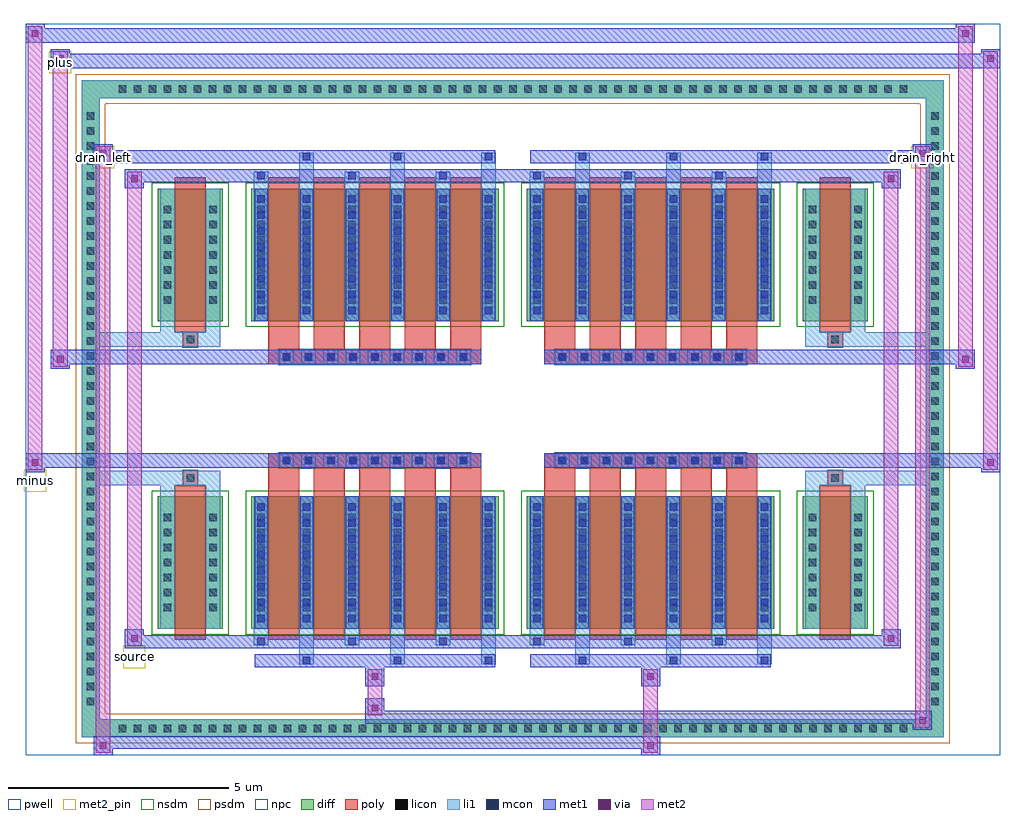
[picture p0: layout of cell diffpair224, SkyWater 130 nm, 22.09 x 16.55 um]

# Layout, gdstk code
import gdstk
lib = gdstk.Library(unit=1e-6, precision=5e-09)
def R(c, l, rs):  # rectangles x0, y0, x1, y1
    for r in rs: c.add(gdstk.rectangle(r[:2], r[2:], *l))
def A(c, l, x, y, w, h, nx, ny, dx, dy):  # array of equal rectangles
    R(c, l, [(x+i*dx, y+j*dy, x+i*dx+w, y+j*dy+h) for i in range(nx) for j in range(ny)])
def P(c, l, *ps):  # polygons
    for p in ps: c.add(gdstk.Polygon(p, *l))
pwell = (64, 44)
diff = (65, 20)
poly = (66, 20)
licon = (66, 44)
li1 = (67, 20)
mcon = (67, 44)
met1 = (68, 20)
via = (68, 44)
met2_pin = (69, 16)
met2 = (69, 20)
nsdm = (93, 44)
psdm = (94, 20)
npc = (95, 20)

diffpair224 = lib.new_cell('diffpair224')
R(diffpair224, pwell, [(-11.03,-7.84,11.03,8.71), (-8.35,-6.03,-0.01,-0.805), (0.01,-6.03,8.35,-0.805), (-8.35,0.805,-0.01,6.03), (0.01,0.805,8.35,6.03)])
A(diffpair224, diff, -9.045, -7.44, 0.41, 0.41, 53, 2, 0.34, 14.47)
A(diffpair224, diff, -9.76, -6.835, 0.41, 0.41, 1, 40, 0, 0.34)
A(diffpair224, diff, 9.35, -6.835, 0.41, 0.41, 1, 40, 0, 0.34)
R(diffpair224, diff, [(-9.045,-7.44,9.045,-7.03), (-9.76,-6.835,-9.35,6.835), (9.35,-6.835,9.76,6.835), (-8.04,-4.985,-6.56,-1.985), (-5.92,-4.985,-0.32,-1.985), (0.32,-4.985,5.92,-1.985), (6.56,-4.985,8.04,-1.985), (-8.04,1.985,-6.56,4.985), (-5.92,1.985,-0.32,4.985), (0.32,1.985,5.92,4.985), (6.56,1.985,8.04,4.985), (-9.045,7.03,9.045,7.44)])
P(diffpair224, diff, [(9.76,7.44),(-9.76,7.44),(-9.76,-7.03),(-9.35,-7.03),(-9.35,7.03),(9.35,7.03),(9.35,-7.03),(-9.35,-7.03),(-9.76,-7.03),(-9.76,-7.44),(9.76,-7.44)])
A(diffpair224, poly, -5.53, -5.235, 0.7, 3.5, 5, 2, 1.03, 6.97)
A(diffpair224, poly, 0.71, -5.235, 0.7, 3.5, 5, 2, 1.03, 6.97)
A(diffpair224, poly, -5.53, -1.735, 0.7, 0.4, 5, 2, 1.03, 3.07)
A(diffpair224, poly, 0.71, -1.735, 0.7, 0.4, 5, 2, 1.03, 3.07)
A(diffpair224, poly, -5.285, -1.335, 0.33, 0.33, 9, 2, 0.5, 2.34)
A(diffpair224, poly, 0.955, -1.335, 0.33, 0.33, 9, 2, 0.5, 2.34)
R(diffpair224, poly, [(-7.65,-5.235,-6.95,-1.735), (6.95,-5.235,7.65,-1.735), (-7.465,-1.735,-7.135,-1.405), (-7.465,-1.735,-7.135,-1.405), (7.135,-1.735,7.465,-1.405), (7.135,-1.735,7.465,-1.405), (-5.53,-1.335,-0.71,-1.005), (0.71,-1.335,5.53,-1.005), (-5.53,1.005,-0.71,1.335), (0.71,1.005,5.53,1.335), (-7.465,1.405,-7.135,1.735), (-7.465,1.405,-7.135,1.735), (7.135,1.405,7.465,1.735), (7.135,1.405,7.465,1.735), (-7.65,1.735,-6.95,5.235), (6.95,1.735,7.65,5.235)])
A(diffpair224, licon, -8.925, -7.32, 0.17, 0.17, 53, 2, 0.34, 14.47)
A(diffpair224, licon, -9.64, -6.715, 0.17, 0.17, 1, 40, 0, 0.34)
A(diffpair224, licon, 9.47, -6.715, 0.17, 0.17, 1, 40, 0, 0.34)
A(diffpair224, licon, -7.9, -4.59, 0.17, 0.17, 1, 7, 0, 0.34)
A(diffpair224, licon, -6.87, -4.59, 0.17, 0.17, 1, 7, 0, 0.34)
A(diffpair224, licon, -5.78, -4.59, 0.17, 0.17, 6, 7, 1.03, 0.34)
A(diffpair224, licon, 0.46, -4.59, 0.17, 0.17, 6, 7, 1.03, 0.34)
A(diffpair224, licon, 6.7, -4.59, 0.17, 0.17, 1, 7, 0, 0.34)
A(diffpair224, licon, 7.73, -4.59, 0.17, 0.17, 1, 7, 0, 0.34)
A(diffpair224, licon, -5.205, -1.255, 0.17, 0.17, 9, 2, 0.5, 2.34)
A(diffpair224, licon, 1.035, -1.255, 0.17, 0.17, 9, 2, 0.5, 2.34)
A(diffpair224, licon, -7.9, 2.38, 0.17, 0.17, 1, 7, 0, 0.34)
A(diffpair224, licon, -6.87, 2.38, 0.17, 0.17, 1, 7, 0, 0.34)
A(diffpair224, licon, -5.78, 2.38, 0.17, 0.17, 6, 7, 1.03, 0.34)
A(diffpair224, licon, 0.46, 2.38, 0.17, 0.17, 6, 7, 1.03, 0.34)
A(diffpair224, licon, 6.7, 2.38, 0.17, 0.17, 1, 7, 0, 0.34)
A(diffpair224, licon, 7.73, 2.38, 0.17, 0.17, 1, 7, 0, 0.34)
R(diffpair224, licon, [(-7.385,-1.655,-7.215,-1.485), (7.215,-1.655,7.385,-1.485), (-7.385,1.485,-7.215,1.655), (7.215,1.485,7.385,1.655)])
A(diffpair224, li1, -9.005, -7.4, 0.33, 0.33, 53, 2, 0.34, 14.47)
A(diffpair224, li1, -9.72, -6.795, 0.33, 0.33, 1, 40, 0, 0.34)
A(diffpair224, li1, 9.39, -6.795, 0.33, 0.33, 1, 40, 0, 0.34)
A(diffpair224, li1, -4.83, -5.79, 0.33, 0.805, 3, 2, 2.06, 10.775)
A(diffpair224, li1, -4.75, -5.79, 0.17, 0.17, 3, 2, 2.06, 11.41)
A(diffpair224, li1, 1.41, -5.79, 0.33, 0.805, 3, 2, 2.06, 10.775)
A(diffpair224, li1, 1.49, -5.79, 0.17, 0.17, 3, 2, 2.06, 11.41)
A(diffpair224, li1, -5.86, -5.36, 0.33, 0.375, 3, 2, 2.06, 10.345)
A(diffpair224, li1, -5.78, -5.36, 0.17, 0.17, 3, 2, 2.06, 10.55)
A(diffpair224, li1, 0.38, -5.36, 0.33, 0.375, 3, 2, 2.06, 10.345)
A(diffpair224, li1, 0.46, -5.36, 0.17, 0.17, 3, 2, 2.06, 10.55)
A(diffpair224, li1, -5.86, -4.985, 0.33, 3, 6, 2, 1.03, 6.97)
A(diffpair224, li1, 0.38, -4.985, 0.33, 3, 6, 2, 1.03, 6.97)
A(diffpair224, li1, -5.78, -4.83, 0.17, 0.17, 6, 8, 1.03, 0.36)
A(diffpair224, li1, -5.78, -4.83, 0.17, 2.69, 6, 2, 1.03, 6.97)
A(diffpair224, li1, 0.46, -4.83, 0.17, 0.17, 6, 8, 1.03, 0.36)
A(diffpair224, li1, 0.46, -4.83, 0.17, 2.69, 6, 2, 1.03, 6.97)
A(diffpair224, li1, -7.98, -4.67, 0.33, 0.33, 1, 7, 0, 0.34)
A(diffpair224, li1, -6.95, -4.67, 0.33, 0.33, 1, 7, 0, 0.34)
A(diffpair224, li1, -5.86, -4.67, 0.33, 0.33, 6, 7, 1.03, 0.34)
A(diffpair224, li1, 0.38, -4.67, 0.33, 0.33, 6, 7, 1.03, 0.34)
A(diffpair224, li1, 6.62, -4.67, 0.33, 0.33, 1, 7, 0, 0.34)
A(diffpair224, li1, 7.65, -4.67, 0.33, 0.33, 1, 7, 0, 0.34)
A(diffpair224, li1, -5.285, -1.335, 0.33, 0.33, 9, 2, 0.5, 2.34)
A(diffpair224, li1, 0.955, -1.335, 0.33, 0.33, 9, 2, 0.5, 2.34)
A(diffpair224, li1, -5.78, 2.14, 0.17, 0.17, 6, 8, 1.03, 0.36)
A(diffpair224, li1, 0.46, 2.14, 0.17, 0.17, 6, 8, 1.03, 0.36)
A(diffpair224, li1, -7.98, 2.3, 0.33, 0.33, 1, 7, 0, 0.34)
A(diffpair224, li1, -6.95, 2.3, 0.33, 0.33, 1, 7, 0, 0.34)
A(diffpair224, li1, -5.86, 2.3, 0.33, 0.33, 6, 7, 1.03, 0.34)
A(diffpair224, li1, 0.38, 2.3, 0.33, 0.33, 6, 7, 1.03, 0.34)
A(diffpair224, li1, 6.62, 2.3, 0.33, 0.33, 1, 7, 0, 0.34)
A(diffpair224, li1, 7.65, 2.3, 0.33, 0.33, 1, 7, 0, 0.34)
R(diffpair224, li1, [(-9.76,-7.44,-9.35,-7.03), (-9.76,-7.44,-9.35,-7.03), (-9.35,-7.44,9.35,-7.03), (9.35,-7.44,9.76,-7.03), (9.35,-7.44,9.76,-7.03), (-9.76,-7.03,-9.35,7.03), (9.35,-7.03,9.76,7.03), (-7.98,-4.985,-7.65,-1.985), (-6.95,-4.985,-6.62,-1.985), (6.62,-4.985,6.95,-1.985), (7.65,-4.985,7.98,-1.985), (-7.98,-1.985,-7.65,-1.405), (-6.95,-1.985,-6.62,-1.405), (6.62,-1.985,6.95,-1.405), (7.65,-1.985,7.98,-1.405), (-9.76,-1.735,-7.465,-1.405), (-7.98,-1.735,-7.465,-1.405), (-7.465,-1.735,-7.135,-1.405), (-7.135,-1.735,-6.62,-1.405), (6.62,-1.735,7.135,-1.405), (7.135,-1.735,7.465,-1.405), (7.135,-1.735,9.76,-1.405), (7.465,-1.735,7.98,-1.405), (-9.76,1.405,-7.465,1.735), (-7.98,1.405,-7.465,1.735), (-7.98,1.405,-7.65,1.985), (-7.465,1.405,-7.135,1.735), (-7.135,1.405,-6.62,1.735), (-6.95,1.405,-6.62,1.985), (6.62,1.405,7.135,1.735), (6.62,1.405,6.95,1.985), (7.135,1.405,7.465,1.735), (7.135,1.405,9.76,1.735), (7.465,1.405,7.98,1.735), (7.65,1.405,7.98,1.985), (-7.98,1.985,-7.65,4.985), (-6.95,1.985,-6.62,4.985), (6.62,1.985,6.95,4.985), (7.65,1.985,7.98,4.985), (-9.76,7.03,-9.35,7.44), (-9.76,7.03,-9.35,7.44), (-9.35,7.03,9.35,7.44), (9.35,7.03,9.76,7.44), (9.35,7.03,9.76,7.44)])
A(diffpair224, mcon, -4.75, -5.79, 0.17, 0.17, 3, 2, 2.06, 11.41)
A(diffpair224, mcon, 1.49, -5.79, 0.17, 0.17, 3, 2, 2.06, 11.41)
A(diffpair224, mcon, -5.78, -5.36, 0.17, 0.17, 3, 2, 2.06, 10.55)
A(diffpair224, mcon, 0.46, -5.36, 0.17, 0.17, 3, 2, 2.06, 10.55)
A(diffpair224, mcon, -5.78, -4.83, 0.17, 0.17, 6, 8, 1.03, 0.36)
A(diffpair224, mcon, 0.46, -4.83, 0.17, 0.17, 6, 8, 1.03, 0.36)
A(diffpair224, mcon, -5.205, -1.255, 0.17, 0.17, 9, 2, 0.5, 2.34)
A(diffpair224, mcon, 1.035, -1.255, 0.17, 0.17, 9, 2, 0.5, 2.34)
A(diffpair224, mcon, -5.78, 2.14, 0.17, 0.17, 6, 8, 1.03, 0.36)
A(diffpair224, mcon, 0.46, 2.14, 0.17, 0.17, 6, 8, 1.03, 0.36)
A(diffpair224, met1, -4.81, -5.85, 0.29, 0.29, 3, 2, 2.06, 11.41)
A(diffpair224, met1, 1.43, -5.85, 0.29, 0.29, 3, 2, 2.06, 11.41)
A(diffpair224, met1, -5.84, -5.42, 0.29, 0.29, 3, 2, 2.06, 10.55)
A(diffpair224, met1, 0.4, -5.42, 0.29, 0.29, 3, 2, 2.06, 10.55)
A(diffpair224, met1, -5.84, -4.985, 0.29, 3, 6, 2, 1.03, 6.97)
A(diffpair224, met1, 0.4, -4.985, 0.29, 3, 6, 2, 1.03, 6.97)
A(diffpair224, met1, -5.84, -4.89, 0.29, 0.29, 6, 8, 1.03, 0.36)
A(diffpair224, met1, 0.4, -4.89, 0.29, 0.29, 6, 8, 1.03, 0.36)
A(diffpair224, met1, -5.265, -1.315, 0.29, 0.29, 9, 2, 0.5, 2.34)
A(diffpair224, met1, 0.975, -1.315, 0.29, 0.29, 9, 2, 0.5, 2.34)
A(diffpair224, met1, -5.84, 2.08, 0.29, 0.29, 6, 8, 1.03, 0.36)
A(diffpair224, met1, 0.4, 2.08, 0.29, 0.29, 6, 8, 1.03, 0.36)
R(diffpair224, met1, [(-9.49,-7.84,-9.06,-7.41), (2.905,-7.84,3.335,-7.41), (-9.49,-7.7,3.335,-7.41), (9.06,-7.27,9.49,-6.84), (-3.335,-7.13,9.49,-6.84), (-3.335,-6.99,-2.905,-6.56), (-3.335,-6.28,-2.905,-5.85), (2.905,-6.28,3.335,-5.85), (-5.84,-5.85,-0.4,-5.56), (0.4,-5.85,5.84,-5.56), (-8.78,-5.42,-8.35,-4.99), (-8.78,-5.42,-5.84,-5.13), (-5.84,-5.42,-0.4,-5.13), (-0.4,-5.42,0.4,-5.13), (0.4,-5.42,5.84,-5.13), (5.84,-5.42,8.78,-5.13), (8.35,-5.42,8.78,-4.99), (-11.03,-1.435,-10.6,-1.005), (10.6,-1.435,11.03,-1.005), (-11.03,-1.335,-0.71,-1.005), (-5.53,-1.335,-0.71,-1.005), (0.71,-1.335,5.53,-1.005), (0.71,-1.335,11.03,-1.005), (-10.46,0.905,-10.03,1.335), (10.03,0.905,10.46,1.335), (-10.46,1.005,-5.53,1.335), (-5.53,1.005,-0.71,1.335), (0.71,1.005,5.53,1.335), (5.53,1.005,10.46,1.335), (-8.78,4.99,-8.35,5.42), (8.35,4.99,8.78,5.42), (-8.78,5.13,-5.84,5.42), (-5.84,5.13,-0.4,5.42), (-0.4,5.13,0.4,5.42), (0.4,5.13,5.84,5.42), (5.84,5.13,8.78,5.42), (-9.49,5.56,-9.06,5.99), (-9.49,5.56,-5.84,5.85), (-5.84,5.56,-0.4,5.85), (0.4,5.56,5.84,5.85), (5.84,5.56,9.49,5.85), (9.06,5.56,9.49,5.99), (-10.46,7.71,-10.03,8.14), (-10.46,7.71,-8.35,8.04), (-8.35,7.71,8.35,8.04), (8.35,7.71,11.03,8.04), (10.6,7.71,11.03,8.14), (-11.03,8.28,-10.6,8.71), (-11.03,8.28,-8.35,8.61), (-8.35,8.28,8.35,8.61), (8.35,8.28,10.46,8.61), (10.03,8.28,10.46,8.71)])
R(diffpair224, via, [(-9.35,-7.7,-9.2,-7.55), (3.045,-7.7,3.195,-7.55), (9.2,-7.13,9.35,-6.98), (-3.195,-6.85,-3.045,-6.7), (-3.195,-6.14,-3.045,-5.99), (3.045,-6.14,3.195,-5.99), (-8.64,-5.28,-8.49,-5.13), (8.49,-5.28,8.64,-5.13), (-10.89,-1.295,-10.74,-1.145), (10.74,-1.295,10.89,-1.145), (-10.32,1.045,-10.17,1.195), (10.17,1.045,10.32,1.195), (-8.64,5.13,-8.49,5.28), (8.49,5.13,8.64,5.28), (-9.35,5.7,-9.2,5.85), (9.2,5.7,9.35,5.85), (-10.32,7.85,-10.17,8), (10.74,7.85,10.89,8), (-10.89,8.42,-10.74,8.57), (10.17,8.42,10.32,8.57)])
R(diffpair224, met2_pin, [(-8.815,-5.87,-8.315,-5.37), (-11.065,-1.885,-10.565,-1.385), (-9.525,5.44,-9.025,5.94), (9.025,5.44,9.525,5.94), (-10.495,7.59,-9.995,8.09)])
R(diffpair224, met2, [(-9.44,-7.79,-9.11,-7.46), (-9.44,-7.79,-9.11,5.94), (2.955,-7.79,3.285,-7.46), (2.955,-7.46,3.285,-6.23), (9.11,-7.22,9.44,-6.89), (9.11,-7.22,9.44,5.94), (-3.285,-6.94,-2.955,-6.61), (-3.285,-6.61,-2.955,-6.23), (-3.285,-6.23,-2.955,-5.9), (2.955,-6.23,3.285,-5.9), (-8.73,-5.37,-8.4,-5.04), (-8.73,-5.37,-8.4,5.37), (8.4,-5.37,8.73,-5.04), (8.4,-5.37,8.73,5.37), (-10.98,-1.385,-10.65,-1.055), (-10.98,-1.385,-10.65,8.66), (10.65,-1.385,10.98,-1.055), (10.65,-1.385,10.98,8.09), (-10.41,0.955,-10.08,1.285), (-10.41,0.955,-10.08,8.09), (10.08,0.955,10.41,1.285), (10.08,0.955,10.41,8.66), (-8.73,5.04,-8.4,5.37), (8.4,5.04,8.73,5.37), (-9.44,5.61,-9.11,5.94), (9.11,5.61,9.44,5.94), (-10.41,7.76,-10.08,8.09), (10.65,7.76,10.98,8.09), (-10.98,8.33,-10.65,8.66), (10.08,8.33,10.41,8.66)])
P(diffpair224, met2, [(10.98,-1.385),(10.98,-1.385),(10.98,-1.055),(10.98,-1.055)],
  [(10.98,7.76),(10.98,7.76),(10.98,8.09),(10.98,8.09)],
  [(-10.65,-1.385),(-10.65,-1.385),(-10.65,-1.055),(-10.65,-1.055)],
  [(-10.65,8.33),(-10.65,8.33),(-10.65,8.66),(-10.65,8.66)],
  [(10.41,0.955),(10.41,0.955),(10.41,1.285),(10.41,1.285)],
  [(10.41,8.33),(10.41,8.33),(10.41,8.66),(10.41,8.66)],
  [(-10.08,0.955),(-10.08,0.955),(-10.08,1.285),(-10.08,1.285)],
  [(-10.08,7.76),(-10.08,7.76),(-10.08,8.09),(-10.08,8.09)],
  [(-9.11,-7.79),(-9.11,-7.79),(-9.11,-7.46),(-9.11,-7.46)],
  [(-9.11,5.61),(-9.11,5.61),(-9.11,5.94),(-9.11,5.94)],
  [(9.44,-7.22),(9.44,-7.22),(9.44,-6.89),(9.44,-6.89)],
  [(9.44,5.61),(9.44,5.61),(9.44,5.94),(9.44,5.94)],
  [(-8.4,-5.37),(-8.4,-5.37),(-8.4,-5.04),(-8.4,-5.04)],
  [(-8.4,5.04),(-8.4,5.04),(-8.4,5.37),(-8.4,5.37)],
  [(8.73,-5.37),(8.73,-5.37),(8.73,-5.04),(8.73,-5.04)],
  [(8.73,5.04),(8.73,5.04),(8.73,5.37),(8.73,5.37)])
R(diffpair224, nsdm, [(-8.17,-5.115,-6.43,-1.855), (-6.05,-5.115,-0.19,-1.855), (0.19,-5.115,6.05,-1.855), (6.43,-5.115,8.17,-1.855), (-8.17,1.855,-6.43,5.115), (-6.05,1.855,-0.19,5.115), (0.19,1.855,6.05,5.115), (6.43,1.855,8.17,5.115)])
P(diffpair224, psdm, [(9.89,7.57),(-9.89,7.57),(-9.89,-6.9),(-9.22,-6.9),(-9.22,6.9),(9.22,6.9),(9.22,-6.9),(-9.22,-6.9),(-9.89,-6.9),(-9.89,-7.57),(9.89,-7.57)])
A(diffpair224, npc, -5.305, -1.355, 0.37, 0.37, 9, 2, 0.5, 2.34)
A(diffpair224, npc, 0.935, -1.355, 0.37, 0.37, 9, 2, 0.5, 2.34)
R(diffpair224, npc, [(-7.485,-1.755,-7.115,-1.385), (7.115,-1.755,7.485,-1.385), (-5.305,-1.355,-4.435,-0.985), (-5.305,-1.355,-4.435,-0.985), (-4.805,-1.355,-3.935,-0.985), (-4.805,-1.355,-3.935,-0.985), (-4.305,-1.355,-3.435,-0.985), (-4.305,-1.355,-3.435,-0.985), (-3.805,-1.355,-2.935,-0.985), (-3.805,-1.355,-2.935,-0.985), (-3.305,-1.355,-2.435,-0.985), (-3.305,-1.355,-2.435,-0.985), (-2.805,-1.355,-1.935,-0.985), (-2.805,-1.355,-1.935,-0.985), (-2.305,-1.355,-1.435,-0.985), (-2.305,-1.355,-1.435,-0.985), (-1.805,-1.355,-0.935,-0.985), (-1.805,-1.355,-0.935,-0.985), (0.935,-1.355,1.805,-0.985), (0.935,-1.355,1.805,-0.985), (1.435,-1.355,2.305,-0.985), (1.435,-1.355,2.305,-0.985), (1.935,-1.355,2.805,-0.985), (1.935,-1.355,2.805,-0.985), (2.435,-1.355,3.305,-0.985), (2.435,-1.355,3.305,-0.985), (2.935,-1.355,3.805,-0.985), (2.935,-1.355,3.805,-0.985), (3.435,-1.355,4.305,-0.985), (3.435,-1.355,4.305,-0.985), (3.935,-1.355,4.805,-0.985), (3.935,-1.355,4.805,-0.985), (4.435,-1.355,5.305,-0.985), (4.435,-1.355,5.305,-0.985), (-5.305,0.985,-4.435,1.355), (-5.305,0.985,-4.435,1.355), (-4.805,0.985,-3.935,1.355), (-4.805,0.985,-3.935,1.355), (-4.305,0.985,-3.435,1.355), (-4.305,0.985,-3.435,1.355), (-3.805,0.985,-2.935,1.355), (-3.805,0.985,-2.935,1.355), (-3.305,0.985,-2.435,1.355), (-3.305,0.985,-2.435,1.355), (-2.805,0.985,-1.935,1.355), (-2.805,0.985,-1.935,1.355), (-2.305,0.985,-1.435,1.355), (-2.305,0.985,-1.435,1.355), (-1.805,0.985,-0.935,1.355), (-1.805,0.985,-0.935,1.355), (0.935,0.985,1.805,1.355), (0.935,0.985,1.805,1.355), (1.435,0.985,2.305,1.355), (1.435,0.985,2.305,1.355), (1.935,0.985,2.805,1.355), (1.935,0.985,2.805,1.355), (2.435,0.985,3.305,1.355), (2.435,0.985,3.305,1.355), (2.935,0.985,3.805,1.355), (2.935,0.985,3.805,1.355), (3.435,0.985,4.305,1.355), (3.435,0.985,4.305,1.355), (3.935,0.985,4.805,1.355), (3.935,0.985,4.805,1.355), (4.435,0.985,5.305,1.355), (4.435,0.985,5.305,1.355), (-7.485,1.385,-7.115,1.755), (7.115,1.385,7.485,1.755)])
diffpair224.add(gdstk.Label('minus', (-10.815,-1.635), layer=69, texttype=5))
diffpair224.add(gdstk.Label('drain_right', (9.275,5.69), layer=69, texttype=5))
diffpair224.add(gdstk.Label('drain_left', (-9.275,5.69), layer=69, texttype=5))
diffpair224.add(gdstk.Label('source', (-8.565,-5.62), layer=69, texttype=5))
diffpair224.add(gdstk.Label('plus', (-10.245,7.84), layer=69, texttype=5))

lib.write_gds('diffpair224.gds')
